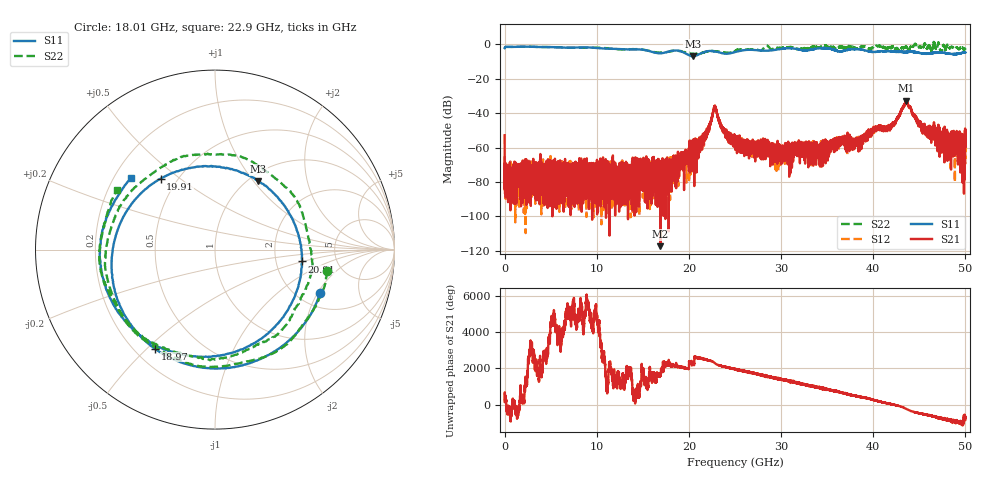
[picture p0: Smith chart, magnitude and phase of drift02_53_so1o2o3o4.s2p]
!Created with skrf (http://scikit-rf.org).
# Hz S RI R 50.0
!freq ReS11 ImS11 ReS21 ImS21 ReS12 ImS12 ReS22 ImS22
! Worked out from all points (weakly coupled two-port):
!   10001 points, 300 kHz to 50 GHz, reference 50 ohm
!   highest |S21| = -32.80 dB at 43.59 GHz (marker M1); lowest = -117.3 dB at 16.9 GHz (marker M2)
!   lowest |S11| = -6.9 dB at 20.41 GHz (marker M3), VSWR 2.64, Z = 55.3 + j52.8 ohm
!   |S11| at or under -10 dB: nowhere
!   |S22| runs from -5.7 to 2.3 dB; largest |S21 - S12| = 0.0033
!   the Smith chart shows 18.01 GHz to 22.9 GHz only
!   S11 on the Smith chart (normalised r, x): 18.01 GHz: 2.59, -2.10; 18.97 GHz: 0.28, -0.53; 19.91 GHz: 0.41, +0.43; 20.91 GHz: 2.83, -0.49; 22.9 GHz: 0.27, +0.34
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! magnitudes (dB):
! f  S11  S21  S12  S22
! 300 kHz  -2.1  -52.8  -65.0  -2.1
! 280.3 MHz  -1.4  -73.0  -89.3  -1.4
! 8.335 GHz  -1.7  -74.7  -75.2  -1.9
! 16.67 GHz  -5.2  -74.6  -76.1  -4.7
! 16.9 GHz  -5.2  -117.3  -74.4  -4.7
! 18.01 GHz  -4.0  -77.9  -74.0  -4.0
! 18.97 GHz  -3.8  -65.2  -69.5  -3.9
! 19.91 GHz  -6.0  -63.1  -63.7  -5.2
! 20.41 GHz  -6.9  -70.7  -60.6  -5.4
! 20.91 GHz  -6.2  -58.7  -59.9  -5.6
! 21.69 GHz  -4.5  -53.0  -54.6  -4.6
! 22.9 GHz  -4.2  -36.8  -36.7  -3.9
! 23.66 GHz  -5.1  -48.3  -49.5  -4.6
! 25 GHz  -4.5  -53.2  -57.8  -3.9
! 29.51 GHz  -3.1  -58.0  -62.7  -2.0
! 33.34 GHz  -3.0  -60.6  -60.4  -1.6
! 38.13 GHz  -2.7  -57.0  -56.4  -2.3
! 41.67 GHz  -3.9  -48.1  -48.2  -2.0
! 43.59 GHz  -4.6  -32.8  -33.6  -1.4
! 45.62 GHz  -5.5  -48.9  -47.7  0.2
! 49.7 GHz  -4.9  -53.1  -58.6  -2.0
! 50 GHz  -4.7  -49.9  -59.5  -2.7
